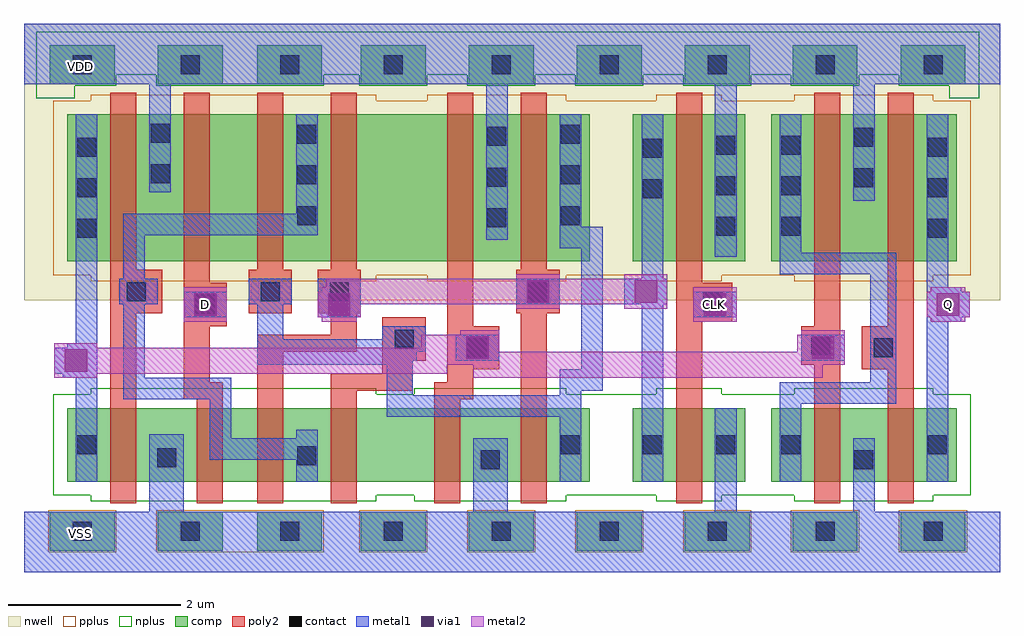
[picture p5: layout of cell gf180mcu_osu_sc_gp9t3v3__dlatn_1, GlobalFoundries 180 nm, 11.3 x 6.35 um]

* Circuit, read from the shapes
.subckt gf180mcu_osu_sc_gp9t3v3__dlatn_1 CLK D Q VDD VSS
XM1 VSS n1 n2 VSS nfet_03v3 w=0.85u l=0.3u
XM2 n3 D VSS VSS nfet_03v3 w=0.85u l=0.3u
XM3 n1 n4 n3 VSS nfet_03v3 w=0.85u l=0.3u
XM4 n5 n6 n1 VSS nfet_03v3 w=0.85u l=0.3u
XM5 VSS n2 n5 VSS nfet_03v3 w=0.85u l=0.3u
XM6 n6 n4 VSS VSS nfet_03v3 w=0.85u l=0.3u
XM7 VSS CLK n4 VSS nfet_03v3 w=0.85u l=0.3u
XM8 VSS n2 n7 VSS nfet_03v3 w=0.85u l=0.3u
XM9 Q n7 VSS VSS nfet_03v3 w=0.85u l=0.3u
XM10 VDD n1 n2 VDD pfet_03v3 w=1.7u l=0.3u
XM11 n8 D VDD VDD pfet_03v3 w=1.7u l=0.3u
XM12 n1 n6 n8 VDD pfet_03v3 w=1.7u l=0.3u
XM13 n9 n4 n1 VDD pfet_03v3 w=1.7u l=0.3u
XM14 VDD n2 n9 VDD pfet_03v3 w=1.7u l=0.3u
XM15 n6 n4 VDD VDD pfet_03v3 w=1.7u l=0.3u
XM16 VDD CLK n4 VDD pfet_03v3 w=1.7u l=0.3u
XM17 VDD n2 n7 VDD pfet_03v3 w=1.7u l=0.3u
XM18 Q n7 VDD VDD pfet_03v3 w=1.7u l=0.3u
.ends

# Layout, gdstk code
import gdstk
lib = gdstk.Library(unit=1e-6, precision=1e-09)
def R(c, l, rs):  # rectangles x0, y0, x1, y1
    for r in rs: c.add(gdstk.rectangle(r[:2], r[2:], *l))
def A(c, l, x, y, w, h, nx, ny, dx, dy):  # array of equal rectangles
    R(c, l, [(x+i*dx, y+j*dy, x+i*dx+w, y+j*dy+h) for i in range(nx) for j in range(ny)])
nwell = (21, 0)
comp = (22, 0)
poly2 = (30, 0)
pplus = (31, 0)
nplus = (32, 0)
contact = (33, 0)
metal1 = (34, 0)
via1 = (35, 0)
metal2 = (36, 0)

gf180mcu_osu_sc_gp9t3v3_ = lib.new_cell('gf180mcu_osu_sc_gp9t3v3__dlatn_1')
R(gf180mcu_osu_sc_gp9t3v3_, nwell, [(0,3.15,11.3,6.35)])
A(gf180mcu_osu_sc_gp9t3v3_, comp, 3.9, 0.25, 0.75, 0.45, 6, 2, 1.25, 5.4)
R(gf180mcu_osu_sc_gp9t3v3_, comp, [(0.3,0.25,1.05,0.7), (1.55,0.25,2.3,0.7), (2.7,0.25,3.45,0.7), (0.5,1.05,6.55,1.9), (7.05,1.05,8.35,1.9), (8.65,1.05,10.8,1.9), (0.5,3.6,6.55,5.3), (7.05,3.6,8.35,5.3), (8.65,3.6,10.8,5.3), (0.3,5.65,1.05,6.1), (1.55,5.65,2.3,6.1), (2.7,5.65,3.45,6.1)])
R(gf180mcu_osu_sc_gp9t3v3_, poly2, [(1,0.8,1.3,3), (2,0.8,2.3,2), (2.7,0.8,3,2.55), (3.55,0.8,3.85,2.1), (4.75,0.8,5.05,2), (5.75,0.8,6.05,3), (7.55,0.8,7.85,2.9), (9.15,0.8,9.45,2.4), (10,0.8,10.3,2.35), (1.85,2,2.3,2.2), (4.75,2,5.2,2.2), (3.55,2.1,4.5,2.3), (1.85,2.2,2.15,2.85), (4.9,2.2,5.2,2.35), (4.15,2.3,4.5,2.45), (4.9,2.35,5.5,2.85), (9.7,2.35,10.3,2.85), (9,2.4,9.45,2.85), (4.15,2.45,4.65,2.95), (2.7,2.55,3.85,2.75), (3.55,2.75,3.85,3), (1.85,2.85,2.35,3.35), (4.9,2.85,5.2,5.55), (9.15,2.85,9.45,5.55), (10,2.85,10.3,5.55), (7.55,2.9,8.2,3.35), (1,3,1.6,3.5), (2.6,3,3.1,3.5), (3.4,3,3.9,3.5), (5.7,3,6.2,3.5), (1.85,3.35,2.15,5.55), (7.55,3.35,7.85,5.55), (1,3.5,1.3,5.55), (2.7,3.5,3,5.55), (3.55,3.5,3.85,5.55), (5.75,3.5,6.05,5.55)])
A(gf180mcu_osu_sc_gp9t3v3_, pplus, 3.88, 0.23, 0.79, 0.49, 6, 1, 1.25, 0)
R(gf180mcu_osu_sc_gp9t3v3_, pplus, [(0.28,0.23,1.07,0.72), (1.53,0.23,3.47,0.72), (0.77,3.37,4.08,3.44), (4.67,3.37,6.28,3.44), (7.32,3.37,8.08,3.44), (8.92,3.37,10.53,3.44), (0.34,3.44,10.96,5.46), (0.77,5.46,4.08,5.53), (4.67,5.46,6.28,5.53), (7.32,5.46,8.08,5.53), (8.92,5.46,10.53,5.53)])
A(gf180mcu_osu_sc_gp9t3v3_, nplus, 3.88, 5.63, 0.79, 0.13, 5, 1, 1.25, 0)
R(gf180mcu_osu_sc_gp9t3v3_, nplus, [(0.77,0.82,4.08,0.89), (4.52,0.82,6.28,0.89), (7.32,0.82,8.08,0.89), (8.92,0.82,10.53,0.89), (0.34,0.89,10.96,2.06), (0.77,2.06,4.08,2.13), (4.52,2.06,6.28,2.13), (7.32,2.06,8.08,2.13), (8.92,2.06,10.53,2.13), (0.14,5.49,0.59,5.63), (10.71,5.49,11.06,5.63), (0.14,5.63,1.07,5.76), (1.53,5.63,3.47,5.76), (10.13,5.63,11.06,5.76), (0.14,5.76,11.06,6.26)])
A(gf180mcu_osu_sc_gp9t3v3_, contact, 4.165, 0.365, 0.22, 0.22, 6, 2, 1.25, 5.4)
A(gf180mcu_osu_sc_gp9t3v3_, contact, 0.615, 3.87, 0.22, 0.22, 1, 3, 0, 0.47)
A(gf180mcu_osu_sc_gp9t3v3_, contact, 10.465, 3.87, 0.22, 0.22, 1, 3, 0, 0.47)
A(gf180mcu_osu_sc_gp9t3v3_, contact, 8.015, 3.895, 0.22, 0.22, 1, 3, 0, 0.47)
A(gf180mcu_osu_sc_gp9t3v3_, contact, 8.765, 3.895, 0.22, 0.22, 1, 3, 0, 0.47)
A(gf180mcu_osu_sc_gp9t3v3_, contact, 5.365, 3.995, 0.22, 0.22, 1, 3, 0, 0.47)
A(gf180mcu_osu_sc_gp9t3v3_, contact, 3.165, 4.02, 0.22, 0.22, 1, 3, 0, 0.47)
A(gf180mcu_osu_sc_gp9t3v3_, contact, 6.215, 4.02, 0.22, 0.22, 1, 3, 0, 0.47)
R(gf180mcu_osu_sc_gp9t3v3_, contact, [(0.565,0.365,0.785,0.585), (1.815,0.365,2.035,0.585), (2.965,0.365,3.185,0.585), (5.29,1.19,5.51,1.41), (9.615,1.19,9.835,1.41), (1.54,1.215,1.76,1.435), (3.165,1.24,3.385,1.46), (0.615,1.365,0.835,1.585), (6.215,1.365,6.435,1.585), (7.165,1.365,7.385,1.585), (8.015,1.365,8.235,1.585), (8.765,1.365,8.985,1.585), (10.465,1.365,10.685,1.585), (5.14,2.49,5.36,2.71), (9.84,2.49,10.06,2.71), (9.115,2.515,9.335,2.735), (4.29,2.59,4.51,2.81), (1.99,2.99,2.21,3.21), (7.865,3.015,8.085,3.235), (1.19,3.14,1.41,3.36), (2.74,3.14,2.96,3.36), (3.54,3.14,3.76,3.36), (5.84,3.14,6.06,3.36), (7.165,4.33,7.385,4.55), (9.615,4.455,9.835,4.675), (1.465,4.505,1.685,4.725), (7.165,4.8,7.385,5.02), (9.615,4.925,9.835,5.145), (1.465,4.975,1.685,5.195), (0.565,5.765,0.785,5.985), (1.815,5.765,2.035,5.985), (2.965,5.765,3.185,5.985)])
R(gf180mcu_osu_sc_gp9t3v3_, metal1, [(0,0,11.3,0.7), (1.45,0.7,1.85,1.6), (5.2,0.7,5.6,1.55), (8,0.7,8.25,1.9), (9.6,0.7,9.85,1.55), (0.6,1.05,0.85,2.25), (3.15,1.05,3.4,1.3), (6.2,1.05,6.45,1.8), (7.15,1.05,7.4,3.1), (8.75,1.05,9,1.95), (10.45,1.05,10.7,2.9), (2.15,1.3,3.4,1.55), (2.15,1.55,2.4,2), (3.15,1.55,3.4,1.65), (4.2,1.8,6.45,2.05), (8.75,1.95,10.1,2.2), (1.15,2,2.4,2.25), (4.2,2.05,4.5,2.4), (6.2,2.05,6.45,2.1), (6.2,2.1,6.7,2.35), (9.8,2.2,10.1,3.45), (0.45,2.25,0.85,2.3), (1.15,2.25,1.4,3.1), (0.35,2.3,0.85,2.6), (6.45,2.35,6.7,3.75), (2.7,2.4,4.5,2.45), (2.7,2.45,4.55,2.55), (5,2.45,5.5,2.75), (9,2.45,9.5,2.75), (2.7,2.55,4.65,2.7), (0.5,2.6,0.85,2.65), (0.6,2.65,0.85,5.3), (2.7,2.7,3,3.1), (4.15,2.7,4.65,2.85), (10.45,2.9,10.85,2.95), (1.85,2.95,2.35,3.25), (3.4,2.95,3.9,3.4), (7.75,2.95,8.25,3.25), (10.45,2.95,10.95,3.25), (1.1,3.1,1.55,3.4), (2.6,3.1,3.1,3.4), (5.7,3.1,6.2,3.4), (6.95,3.1,7.45,3.4), (10.45,3.25,10.85,3.3), (10.45,3.3,10.7,5.3), (1.15,3.4,1.4,3.9), (7.15,3.4,7.4,5.3), (8.75,3.45,10.1,3.7), (8,3.65,8.25,5.65), (8.75,3.7,9,5.3), (6.2,3.75,6.7,4), (5.35,3.85,5.6,5.65), (1.15,3.9,3.4,4.15), (6.2,4,6.45,5.3), (3.15,4.15,3.4,5.3), (9.6,4.3,9.85,5.65), (1.45,4.4,1.7,5.65), (0,5.65,11.3,6.35)])
R(gf180mcu_osu_sc_gp9t3v3_, via1, [(0.47,2.32,0.73,2.58), (5.12,2.47,5.38,2.73), (9.12,2.47,9.38,2.73), (1.97,2.97,2.23,3.23), (3.52,2.97,3.78,3.23), (7.87,2.97,8.13,3.23), (10.57,2.97,10.83,3.23), (5.82,3.12,6.08,3.38), (7.07,3.12,7.33,3.38)])
R(gf180mcu_osu_sc_gp9t3v3_, metal2, [(0.35,2.25,0.85,2.3), (5.2,2.25,9.25,2.4), (0.35,2.3,4.9,2.4), (0.35,2.4,9.5,2.55), (0.35,2.55,5.5,2.6), (8.95,2.55,9.5,2.75), (0.35,2.6,0.85,2.65), (4.6,2.6,5.5,2.75), (5.05,2.75,5.5,2.8), (9,2.75,9.5,2.8), (1.85,2.9,2.35,3.3), (3.45,2.9,3.85,2.95), (7.75,2.9,8.25,3.3), (10.5,2.9,10.9,2.95), (3.4,2.95,3.9,3.1), (10.45,2.95,10.95,3.25), (5.7,3.05,6.2,3.1), (6.95,3.05,7.45,3.1), (3.4,3.1,7.45,3.25), (3.45,3.25,7.45,3.3), (10.5,3.25,10.9,3.3), (3.5,3.3,7.45,3.4), (5.7,3.4,6.2,3.45), (6.95,3.4,7.45,3.45)])
gf180mcu_osu_sc_gp9t3v3_.add(gdstk.Label('VDD', (0.65,5.85), layer=34, texttype=10))
gf180mcu_osu_sc_gp9t3v3_.add(gdstk.Label('VSS', (0.65,0.45), layer=34, texttype=10))
gf180mcu_osu_sc_gp9t3v3_.add(gdstk.Label('D', (2.1,3.1), layer=36, texttype=10))
gf180mcu_osu_sc_gp9t3v3_.add(gdstk.Label('CLK', (8,3.1), layer=36, texttype=10))
gf180mcu_osu_sc_gp9t3v3_.add(gdstk.Label('Q', (10.7,3.1), layer=36, texttype=10))

lib.write_gds('gf180mcu_osu_sc_gp9t3v3__dlatn_1.gds')
